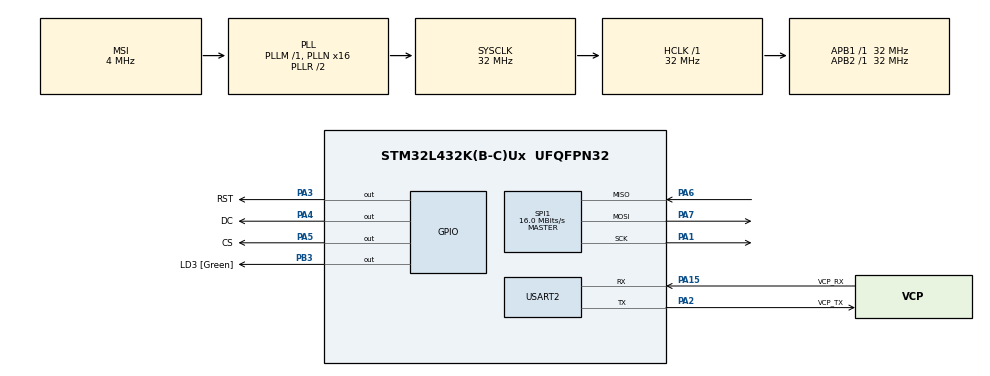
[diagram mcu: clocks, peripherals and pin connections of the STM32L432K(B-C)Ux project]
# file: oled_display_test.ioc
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Dma.Request0=SPI1_TX
Dma.Request1=SPI1_RX
Dma.SPI1_RX.1.Direction=DMA_PERIPH_TO_MEMORY
Dma.SPI1_RX.1.Instance=DMA1_Channel2
Dma.SPI1_RX.1.MemDataAlignment=DMA_MDATAALIGN_BYTE
Dma.SPI1_RX.1.MemInc=DMA_MINC_ENABLE
Dma.SPI1_RX.1.Mode=DMA_NORMAL
Dma.SPI1_RX.1.PeriphDataAlignment=DMA_PDATAALIGN_BYTE
Dma.SPI1_RX.1.PeriphInc=DMA_PINC_DISABLE
Dma.SPI1_RX.1.Priority=DMA_PRIORITY_MEDIUM
Dma.SPI1_TX.0.Direction=DMA_MEMORY_TO_PERIPH
Dma.SPI1_TX.0.Instance=DMA1_Channel3
Dma.SPI1_TX.0.MemDataAlignment=DMA_MDATAALIGN_BYTE
Dma.SPI1_TX.0.MemInc=DMA_MINC_ENABLE
Dma.SPI1_TX.0.Mode=DMA_NORMAL
Dma.SPI1_TX.0.PeriphDataAlignment=DMA_PDATAALIGN_BYTE
Dma.SPI1_TX.0.PeriphInc=DMA_PINC_DISABLE
Dma.SPI1_TX.0.Priority=DMA_PRIORITY_HIGH
Mcu.Family=STM32L4
Mcu.Name=STM32L432K(B-C)Ux
Mcu.Package=UFQFPN32
NVIC.DMA1_Channel2_IRQn=true\:0\:0\:false\:false\:true\:false\:true\:true
NVIC.DMA1_Channel3_IRQn=true\:0\:0\:false\:false\:true\:false\:true\:true
NVIC.PriorityGroup=NVIC_PRIORITYGROUP_4
PA0.GPIO_Label=MCO [High speed clock in]
PA0.Mode=HSE-External-Clock-Source-for-LittleOrca
PA0.Signal=RCC_CK_IN
PA1.Mode=Full_Duplex_Master
PA1.Signal=SPI1_SCK
PA13\ (JTMS-SWDIO).GPIO_Label=SWDIO
PA13\ (JTMS-SWDIO).Mode=Serial_Wire
PA13\ (JTMS-SWDIO).Signal=SYS_JTMS-SWDIO
PA14\ (JTCK-SWCLK).GPIO_Label=SWCLK
PA14\ (JTCK-SWCLK).Mode=Serial_Wire
PA14\ (JTCK-SWCLK).Signal=SYS_JTCK-SWCLK
PA15\ (JTDI).GPIO_Label=VCP_RX
PA15\ (JTDI).Mode=Asynchronous
PA15\ (JTDI).Signal=USART2_RX
PA2.GPIO_Label=VCP_TX
PA2.Mode=Asynchronous
PA2.Signal=USART2_TX
PA3.GPIO_Label=RST
PA3.Signal=GPIO_Output
PA4.GPIO_Label=DC
PA4.Signal=GPIO_Output
PA5.GPIO_Label=CS
PA5.Signal=GPIO_Output
PA6.Mode=Full_Duplex_Master
PA6.Signal=SPI1_MISO
PA7.Mode=Full_Duplex_Master
PA7.Signal=SPI1_MOSI
PB3\ (JTDO-TRACESWO).GPIO_Label=LD3 [Green]
PB3\ (JTDO-TRACESWO).Signal=GPIO_Output
PC14-OSC32_IN\ (PC14).Mode=LSE-External-Oscillator
PC14-OSC32_IN\ (PC14).Signal=RCC_OSC32_IN
PC15-OSC32_OUT\ (PC15).Mode=LSE-External-Oscillator
PC15-OSC32_OUT\ (PC15).Signal=RCC_OSC32_OUT
ProjectManager.HeapSize=0x200
ProjectManager.StackSize=0x400
ProjectManager.TargetToolchain=STM32CubeIDE
RCC.AHBFreq_Value=32000000
RCC.APB1Freq_Value=32000000
RCC.APB1TimFreq_Value=32000000
RCC.APB2Freq_Value=32000000
RCC.APB2TimFreq_Value=32000000
RCC.CortexFreq_Value=32000000
RCC.HCLKFreq_Value=32000000
RCC.HSE_VALUE=8000000
RCC.HSI16_VALUE=16000000
RCC.HSI48_VALUE=48000000
RCC.HSI_VALUE=16000000
RCC.MSI_VALUE=4000000
RCC.PLLMUL=RCC_PLLMUL_4
RCC.PLLN=16
RCC.SYSCLKFreq_VALUE=32000000
RCC.SYSCLKSource=RCC_SYSCLKSOURCE_PLLCLK
RCC.VCOOutputFreq_Value=64000000
SPI1.CalculateBaudRate=16.0 MBits/s
SPI1.DataSize=SPI_DATASIZE_8BIT
SPI1.Direction=SPI_DIRECTION_2LINES
SPI1.Mode=SPI_MODE_MASTER
SPI1.VirtualType=VM_MASTER
USART2.VirtualMode-Asynchronous=VM_ASYNC
board=NUCLEO-L432KC

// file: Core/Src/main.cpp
/* USER CODE BEGIN Header */
/**
  ******************************************************************************
  * @file           : main.c
  * @brief          : Main program body
  ******************************************************************************
  * @attention
  *
  * Copyright (c) 2025 STMicroelectronics.
  * All rights reserved.
  *
  * This software is licensed under terms that can be found in the LICENSE file
  * in the root directory of this software component.
  * If no LICENSE file comes with this software, it is provided AS-IS.
  *
  ******************************************************************************
  */
/* USER CODE END Header */

#include "main.h"
#include <string.h>
#include <gif.h>
#include <AnimatedGIF.h>
#include <gif1.h>
#include <gif2.h>

/* USER CODE BEGIN PD */
#define OLED_CS_LOW()   HAL_GPIO_WritePin(CS_GPIO_Port, CS_Pin, GPIO_PIN_RESET)
#define OLED_CS_HIGH()  HAL_GPIO_WritePin(CS_GPIO_Port, CS_Pin, GPIO_PIN_SET)
#define OLED_DC_LOW()   HAL_GPIO_WritePin(DC_GPIO_Port, DC_Pin, GPIO_PIN_RESET)
#define OLED_DC_HIGH()  HAL_GPIO_WritePin(DC_GPIO_Port, DC_Pin, GPIO_PIN_SET)
#define OLED_RESET_LOW() HAL_GPIO_WritePin(RST_GPIO_Port, RST_Pin, GPIO_PIN_RESET)
#define OLED_RESET_HIGH() HAL_GPIO_WritePin(RST_GPIO_Port, RST_Pin, GPIO_PIN_SET)
#define DISPLAY_WIDTH 128
#define DISPLAY_HEIGHT 128
/* USER CODE END PD */

/* USER CODE BEGIN PM */
static uint16_t framebuffer[128*128]; // RGB565 frame buffer
/* USER CODE END PM */

SPI_HandleTypeDef hspi1;
DMA_HandleTypeDef hdma_spi1_tx;
DMA_HandleTypeDef hdma_spi1_rx;

UART_HandleTypeDef huart2;

void SystemClock_Config(void);
static void MX_GPIO_Init(void);
static void MX_DMA_Init(void);
static void MX_USART2_UART_Init(void);
static void MX_SPI1_Init(void);
/* USER CODE BEGIN PFP */
uint8_t dma_done_flag;
void HAL_SPI_TxCpltCallback(SPI_HandleTypeDef *hspi) {
    if (hspi->Instance == SPI1) {
        // DMA done for SPI1 TX
        dma_done_flag = 1;
    }
}

void OLED_WriteReg(uint8_t cmd) {
    OLED_DC_LOW();
    OLED_CS_LOW();
    HAL_SPI_Transmit(&hspi1, &cmd, 1, HAL_MAX_DELAY);
    OLED_CS_HIGH();
}

void OLED_WriteData(uint8_t data) {
    OLED_DC_HIGH();
    OLED_CS_LOW();
    HAL_SPI_Transmit(&hspi1, &data, 1, HAL_MAX_DELAY);
    OLED_CS_HIGH();
}

void OLED_WriteDatas(uint8_t *data, uint16_t size) {
    OLED_DC_HIGH();
    OLED_CS_LOW();
    dma_done_flag = 0;
    HAL_SPI_Transmit_DMA(&hspi1, data, size);
    while (!dma_done_flag);
    OLED_CS_HIGH();
}

void OLED_Reset() {
    OLED_RESET_LOW();
    HAL_Delay(20);
    OLED_RESET_HIGH();
    HAL_Delay(20);
}

static void OLED_Init(void)
{
	OLED_Reset();
    OLED_WriteReg(0xfd);  // command lock
    OLED_WriteData(0x12);
    OLED_WriteReg(0xfd);  // command lock
    OLED_WriteData(0xB1);

    OLED_WriteReg(0xae);  // display off
    OLED_WriteReg(0xa4);  // Normal Display mode

    OLED_WriteReg(0x15);  //set column address
    OLED_WriteData(0x00);     //column address start 00
    OLED_WriteData(0x7f);     //column address end 127
    OLED_WriteReg(0x75);  //set row address
    OLED_WriteData(0x00);     //row address start 00
    OLED_WriteData(0x7f);     //row address end 127

    OLED_WriteReg(0xB3);
    OLED_WriteData(0xF1);

    OLED_WriteReg(0xCA);
    OLED_WriteData(0x7F);

    OLED_WriteReg(0xa0);  //set re-map & data format
    OLED_WriteData(0x74);     //Horizontal address increment

    OLED_WriteReg(0xa1);  //set display start line
    OLED_WriteData(0x00);     //start 00 line

    OLED_WriteReg(0xa2);  //set display offset
    OLED_WriteData(0x00);

    OLED_WriteReg(0xAB);
    OLED_WriteReg(0x01);

    OLED_WriteReg(0xB4);
    OLED_WriteData(0xA0);
    OLED_WriteData(0xB5);
    OLED_WriteData(0x55);

    OLED_WriteReg(0xC1);
    OLED_WriteData(0xC8);
    OLED_WriteData(0x80);
    OLED_WriteData(0xC0);

    OLED_WriteReg(0xC7);
    OLED_WriteData(0x0F);

    OLED_WriteReg(0xB1);
    OLED_WriteData(0x32);

    OLED_WriteReg(0xB2);
    OLED_WriteData(0xA4);
    OLED_WriteData(0x00);
    OLED_WriteData(0x00);

    OLED_WriteReg(0xBB);
    OLED_WriteData(0x17);

    OLED_WriteReg(0xB6);
    OLED_WriteData(0x01);

    OLED_WriteReg(0xBE);
    OLED_WriteData(0x05);

    OLED_WriteReg(0xA6);
    OLED_WriteReg(0xAF);
}

void OLED_SetAddrWindow(uint8_t x, uint8_t y, uint8_t w, uint8_t h)
{
    // SSD1351 uses inclusive end coordinates
    uint8_t x_start = x;
    uint8_t x_end   = x + w - 1;
    uint8_t y_start = y;
    uint8_t y_end   = y + h - 1;

    // Column address set
    OLED_WriteReg(0x15);
    OLED_WriteData(x_start);
    OLED_WriteData(x_end);

    // Row address set
    OLED_WriteReg(0x75);
    OLED_WriteData(y_start);
    OLED_WriteData(y_end);

    // Prepare to write RAM
    OLED_WriteReg(0x5C);
}

void OLED_DrawImage(uint8_t* image) {
	OLED_WriteReg(0x5C);
	OLED_WriteDatas(image, sizeof(uint16_t)*128*128);
}

void OLED_SkipPixel(void)
{
    uint16_t dummy = 0x0000; // black or background color
    OLED_WriteDatas((uint8_t*)&dummy, 2);
}

void OLED_ClearScreen(uint16_t color)
{
    uint16_t line[128*128];
    for (int i = 0; i < 128*128; i++)
        line[i] = color; // fill line with desired color

    OLED_SetAddrWindow(0, 0, 128, 128); // full screen

    OLED_DrawImage((uint8_t*) line);
}

void gifDrawCallback(GIFDRAW *pDraw)
{
    if (!pDraw->pPixels || pDraw->y >= DISPLAY_HEIGHT)
        return;

    const uint8_t *src = pDraw->pPixels;
    const uint16_t *palette = pDraw->pPalette;
    int y = pDraw->iY + pDraw->y;

    if (y >= DISPLAY_HEIGHT)
        return;

    int x0 = pDraw->iX;
    int width = pDraw->iWidth;
    if (x0 >= DISPLAY_WIDTH)
        return;
    if (x0 + width > DISPLAY_WIDTH)
        width = DISPLAY_WIDTH - x0;

    for (int i = 0; i < width; i++) {
        uint8_t idx = src[i];
        if (pDraw->ucHasTransparency && idx == pDraw->ucTransparent) {
            continue; // leave background color (already cleared)
        }
        framebuffer[y * DISPLAY_WIDTH + x0 + i] = palette[idx];
    }
}

/* USER CODE END PFP */

int main(void)
{

  /* MCU Configuration--------------------------------------------------------*/

  /* Reset of all peripherals, Initializes the Flash interface and the Systick. */
  HAL_Init();

  /* Configure the system clock */
  SystemClock_Config();

  /* Initialize all configured peripherals */
  MX_GPIO_Init();
  MX_DMA_Init();
  MX_USART2_UART_Init();
  MX_SPI1_Init();
  /* USER CODE BEGIN 2 */
  AnimatedGIF gif;

  OLED_Init();
//  HAL_Delay(1000);
//  for (int i = 0; i < 128*128; i++) framebuffer[i] = 0xF800; // Red test
//  OLED_DrawImage((uint8_t*)framebuffer);
//  HAL_Delay(1000);

//  OLED_DrawImage((uint8_t*)gif_frames[0]);
  gif.begin(GIF_PALETTE_RGB565_BE);
  if (gif.open((uint8_t *)gif1, sizeof(gif1), gifDrawCallback)){
	  while (gif.playFrame(true, NULL)) { // live dangerously; run unthrottled :
		  OLED_DrawImage((uint8_t*)framebuffer);
		  memset(framebuffer, 0x00, sizeof(framebuffer));
	  }
	  gif.close();
  }

  /* USER CODE END 2 */

  /* Infinite loop */
  /* USER CODE BEGIN WHILE */
  while (1)
  {

//	  HAL_Delay(20);
    /* USER CODE END WHILE */

  }
}

void SystemClock_Config(void)
{
  RCC_OscInitTypeDef RCC_OscInitStruct = {0};
  RCC_ClkInitTypeDef RCC_ClkInitStruct = {0};

  /** Configure the main internal regulator output voltage
  */
  if (HAL_PWREx_ControlVoltageScaling(PWR_REGULATOR_VOLTAGE_SCALE1) != HAL_OK)
  {
    Error_Handler();
  }

  /** Configure LSE Drive Capability
  */
  HAL_PWR_EnableBkUpAccess();
  __HAL_RCC_LSEDRIVE_CONFIG(RCC_LSEDRIVE_LOW);

  /** Initializes the RCC Oscillators according to the specified parameters
  * in the RCC_OscInitTypeDef structure.
  */
  RCC_OscInitStruct.OscillatorType = RCC_OSCILLATORTYPE_LSE|RCC_OSCILLATORTYPE_MSI;
  RCC_OscInitStruct.LSEState = RCC_LSE_ON;
  RCC_OscInitStruct.MSIState = RCC_MSI_ON;
  RCC_OscInitStruct.MSICalibrationValue = 0;
  RCC_OscInitStruct.MSIClockRange = RCC_MSIRANGE_6;
  RCC_OscInitStruct.PLL.PLLState = RCC_PLL_ON;
  RCC_OscInitStruct.PLL.PLLSource = RCC_PLLSOURCE_MSI;
  RCC_OscInitStruct.PLL.PLLM = 1;
  RCC_OscInitStruct.PLL.PLLN = 16;
  RCC_OscInitStruct.PLL.PLLP = RCC_PLLP_DIV7;
  RCC_OscInitStruct.PLL.PLLQ = RCC_PLLQ_DIV2;
  RCC_OscInitStruct.PLL.PLLR = RCC_PLLR_DIV2;
  if (HAL_RCC_OscConfig(&RCC_OscInitStruct) != HAL_OK)
  {
    Error_Handler();
  }

  /** Initializes the CPU, AHB and APB buses clocks
  */
  RCC_ClkInitStruct.ClockType = RCC_CLOCKTYPE_HCLK|RCC_CLOCKTYPE_SYSCLK
                              |RCC_CLOCKTYPE_PCLK1|RCC_CLOCKTYPE_PCLK2;
  RCC_ClkInitStruct.SYSCLKSource = RCC_SYSCLKSOURCE_PLLCLK;
  RCC_ClkInitStruct.AHBCLKDivider = RCC_SYSCLK_DIV1;
  RCC_ClkInitStruct.APB1CLKDivider = RCC_HCLK_DIV1;
  RCC_ClkInitStruct.APB2CLKDivider = RCC_HCLK_DIV1;

  if (HAL_RCC_ClockConfig(&RCC_ClkInitStruct, FLASH_LATENCY_1) != HAL_OK)
  {
    Error_Handler();
  }

  /** Enable MSI Auto calibration
  */
  HAL_RCCEx_EnableMSIPLLMode();
}

static void MX_SPI1_Init(void)
{

  /* SPI1 parameter configuration*/
  hspi1.Instance = SPI1;
  hspi1.Init.Mode = SPI_MODE_MASTER;
  hspi1.Init.Direction = SPI_DIRECTION_2LINES;
  hspi1.Init.DataSize = SPI_DATASIZE_8BIT;
  hspi1.Init.CLKPolarity = SPI_POLARITY_LOW;
  hspi1.Init.CLKPhase = SPI_PHASE_1EDGE;
  hspi1.Init.NSS = SPI_NSS_SOFT;
  hspi1.Init.BaudRatePrescaler = SPI_BAUDRATEPRESCALER_2;
  hspi1.Init.FirstBit = SPI_FIRSTBIT_MSB;
  hspi1.Init.TIMode = SPI_TIMODE_DISABLE;
  hspi1.Init.CRCCalculation = SPI_CRCCALCULATION_DISABLE;
  hspi1.Init.CRCPolynomial = 7;
  hspi1.Init.CRCLength = SPI_CRC_LENGTH_DATASIZE;
  hspi1.Init.NSSPMode = SPI_NSS_PULSE_ENABLE;
  if (HAL_SPI_Init(&hspi1) != HAL_OK)
  {
    Error_Handler();
  }

}

static void MX_USART2_UART_Init(void)
{

  huart2.Instance = USART2;
  huart2.Init.BaudRate = 115200;
  huart2.Init.WordLength = UART_WORDLENGTH_8B;
  huart2.Init.StopBits = UART_STOPBITS_1;
  huart2.Init.Parity = UART_PARITY_NONE;
  huart2.Init.Mode = UART_MODE_TX_RX;
  huart2.Init.HwFlowCtl = UART_HWCONTROL_NONE;
  huart2.Init.OverSampling = UART_OVERSAMPLING_16;
  huart2.Init.OneBitSampling = UART_ONE_BIT_SAMPLE_DISABLE;
  huart2.AdvancedInit.AdvFeatureInit = UART_ADVFEATURE_NO_INIT;
  if (HAL_UART_Init(&huart2) != HAL_OK)
  {
    Error_Handler();
  }

}

static void MX_DMA_Init(void)
{

  /* DMA controller clock enable */
  __HAL_RCC_DMA1_CLK_ENABLE();

  /* DMA interrupt init */
  /* DMA1_Channel2_IRQn interrupt configuration */
  HAL_NVIC_SetPriority(DMA1_Channel2_IRQn, 0, 0);
  HAL_NVIC_EnableIRQ(DMA1_Channel2_IRQn);
  /* DMA1_Channel3_IRQn interrupt configuration */
  HAL_NVIC_SetPriority(DMA1_Channel3_IRQn, 0, 0);
  HAL_NVIC_EnableIRQ(DMA1_Channel3_IRQn);

}

static void MX_GPIO_Init(void)
{
  GPIO_InitTypeDef GPIO_InitStruct = {0};

  /* GPIO Ports Clock Enable */
  __HAL_RCC_GPIOC_CLK_ENABLE();
  __HAL_RCC_GPIOA_CLK_ENABLE();
  __HAL_RCC_GPIOB_CLK_ENABLE();

  /*Configure GPIO pin Output Level */
  HAL_GPIO_WritePin(GPIOA, RST_Pin|DC_Pin|CS_Pin, GPIO_PIN_RESET);

  /*Configure GPIO pin Output Level */
  HAL_GPIO_WritePin(LD3_GPIO_Port, LD3_Pin, GPIO_PIN_RESET);

  /*Configure GPIO pins : RST_Pin DC_Pin CS_Pin */
  GPIO_InitStruct.Pin = RST_Pin|DC_Pin|CS_Pin;
  GPIO_InitStruct.Mode = GPIO_MODE_OUTPUT_PP;
  GPIO_InitStruct.Pull = GPIO_NOPULL;
  GPIO_InitStruct.Speed = GPIO_SPEED_FREQ_LOW;
  HAL_GPIO_Init(GPIOA, &GPIO_InitStruct);

  /*Configure GPIO pin : LD3_Pin */
  GPIO_InitStruct.Pin = LD3_Pin;
  GPIO_InitStruct.Mode = GPIO_MODE_OUTPUT_PP;
  GPIO_InitStruct.Pull = GPIO_NOPULL;
  GPIO_InitStruct.Speed = GPIO_SPEED_FREQ_LOW;
  HAL_GPIO_Init(LD3_GPIO_Port, &GPIO_InitStruct);

}

void Error_Handler(void)
{
  __disable_irq();
  while (1)
  {
  }
}
